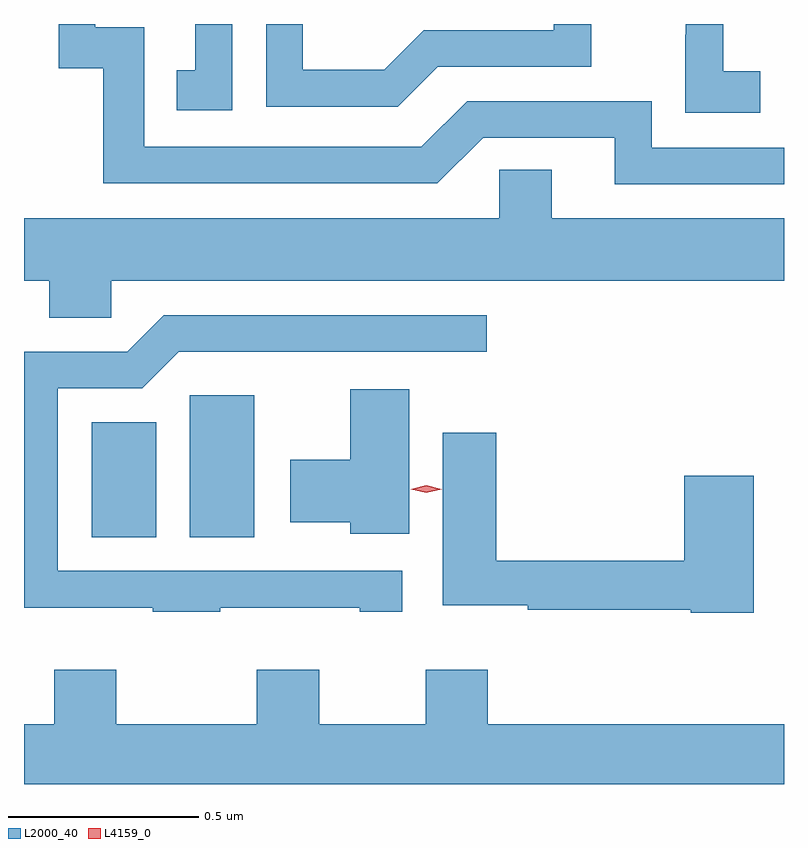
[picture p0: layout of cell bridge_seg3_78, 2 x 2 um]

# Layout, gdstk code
import gdstk
lib = gdstk.Library(unit=1e-6, precision=1e-09)
def R(c, l, rs):  # rectangles x0, y0, x1, y1
    for r in rs: c.add(gdstk.rectangle(r[:2], r[2:], *l))
def P(c, l, *ps):  # polygons
    for p in ps: c.add(gdstk.Polygon(p, *l))
L2000_40 = (2000, 40)
L4159_0 = (4159, 0)

bridge_seg3_78 = lib.new_cell('bridge_seg3_78')
R(bridge_seg3_78, L2000_40, [(426.62,690.917,426.79,691.219), (426.878,690.917,427.048,691.29)])
P(bridge_seg3_78, L2000_40, [(426.99,692.267),(426.893,692.267),(426.893,692.145),(426.844,692.145),(426.844,692.04),(426.99,692.04)],
  [(428.442,691.941),(428.094,691.941),(428.094,692.064),(427.608,692.064),(427.488,691.944),(426.759,691.944),(426.759,692.259),(426.63,692.259),(426.63,692.267),(426.533,692.267),(426.533,692.151),(426.651,692.151),(426.651,691.848),(427.53,691.848),(427.65,691.968),(427.997,691.968),(427.997,691.845),(428.442,691.845)],
  [(428.38,692.143),(428.282,692.143),(428.282,692.267),(428.183,692.267),(428.183,692.239),(428.182,692.239),(428.182,692.033),(428.38,692.033)],
  [(427.531,692.154),(427.935,692.154),(427.935,692.267),(427.836,692.267),(427.836,692.25),(427.494,692.25),(427.39,692.146),(427.176,692.146),(427.176,692.267),(427.08,692.267),(427.08,692.049),(427.426,692.049)],
  [(426.672,691.592),(428.442,691.592),(428.442,691.756),(427.831,691.756),(427.831,691.883),(427.692,691.883),(427.692,691.756),(426.442,691.756),(426.442,691.592),(426.509,691.592),(426.509,691.494),(426.672,691.494)],
  [(426.959,690.731),(427.325,690.731),(427.325,690.72),(427.438,690.72),(427.438,690.828),(426.531,690.828),(426.531,691.308),(426.753,691.308),(426.849,691.404),(427.66,691.404),(427.66,691.5),(426.81,691.5),(426.714,691.404),(426.442,691.404),(426.442,690.731),(426.781,690.731),(426.781,690.72),(426.959,690.72)],
  [(427.456,691.306),(427.301,691.306),(427.301,691.12),(427.143,691.12),(427.143,690.956),(427.301,690.956),(427.301,690.926),(427.456,690.926)],
  [(428.363,691.078),(428.18,691.078),(428.18,690.854),(427.685,690.854),(427.685,691.192),(427.544,691.192),(427.544,690.737),(427.768,690.737),(427.768,690.726),(428.196,690.726),(428.196,690.718),(428.363,690.718)],
  [(428.442,690.424),(427.663,690.424),(427.663,690.568),(427.499,690.568),(427.499,690.424),(427.219,690.424),(427.219,690.568),(427.055,690.568),(427.055,690.424),(426.685,690.424),(426.685,690.568),(426.521,690.568),(426.521,690.424),(426.442,690.424),(426.442,690.267),(428.442,690.267)])
P(bridge_seg3_78, L4159_0, [(427.5,691.033),(427.46,691.043),(427.46,691.043),(427.46,691.043),(427.5,691.053),(427.541,691.043),(427.541,691.043),(427.541,691.043)])

lib.write_gds('bridge_seg3_78.gds')
